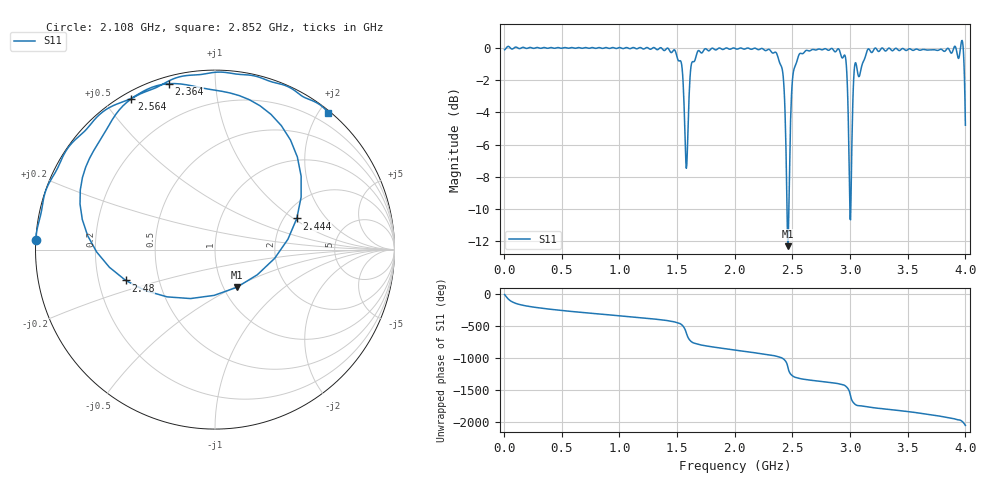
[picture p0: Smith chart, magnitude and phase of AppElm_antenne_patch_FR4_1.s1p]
! TOUCHSTONE file generated by CST MICROWAVE STUDIO
! Date and time: Tue Jun 14 13:15:09 2022
! Project name: AppElm_antenne_patch_FR4.cst
! Parameters = {L=45; W=58.5; e=0.035; h=1.6; lambda=0.190476; ls=120; w0=2.54; w1=0.847; ws=120; y0=13.5; y1=23.8}
! Header version: 2018
! Port assignment regex: !\s*Touchstone port\s*([0-9]+)\s*=\s*(CST MWS port|CST DS port)\s*([0-9]+|Zmin|Zmax)\s*\(\"(.*)\"\)(\s*mode\s*([0-9]+))?.*
! Touchstone port assignment:
! Touchstone port 1 = CST MWS port 1 ("")
# GHz S MA R 50
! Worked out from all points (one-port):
!   1000 points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, 4 MHz to 4 GHz, reference 50 ohm
!   lowest |S11| = -12.3 dB at 2.46 GHz (marker M1), VSWR 1.64, Z = 57.7 - j25.8 ohm
!   |S11| at or under -10 dB: 2.453 GHz to 2.469 GHz (15.53 MHz wide, 0.631 % of centre); 2.998312 GHz to 3.005958 GHz (7.645 MHz wide, 0.255 % of centre)
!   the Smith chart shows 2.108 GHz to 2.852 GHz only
!   S11 on the Smith chart (normalised r, x): 2.108 GHz: 0.00, +0.03; 2.364 GHz: 0.03, +0.76; 2.444 GHz: 2.33, +1.06; 2.48 GHz: 0.32, -0.15; 2.564 GHz: 0.03, +0.59; 2.852 GHz: 0.03, +2.12
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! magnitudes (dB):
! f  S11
! 4 MHz  -0.1
! 504 MHz  0.0
! 1.004 GHz  0.0
! 1.504 GHz  -0.7
! 1.54 GHz  -1.1
! 1.58 GHz  -7.5
! 1.624 GHz  -1.0
! 1.676 GHz  -0.3
! 2.004 GHz  0.0
! 2.108 GHz  0.0
! 2.364 GHz  -0.4
! 2.416 GHz  -1.5
! 2.444 GHz  -6.2
! 2.46 GHz  -12.3
! 2.48 GHz  -5.6
! 2.504 GHz  -1.7
! 2.564 GHz  -0.4
! 2.852 GHz  -0.1
! 2.956 GHz  -0.5
! 2.972 GHz  -1.6
! 2.992 GHz  -7.3
! 3.004 GHz  -10.7
! 3.036 GHz  -1.4
! 3.052 GHz  -1.0
! 3.16 GHz  -0.1
! 3.504 GHz  -0.1
! 3.964 GHz  0.3
! 4 GHz  -4.8
